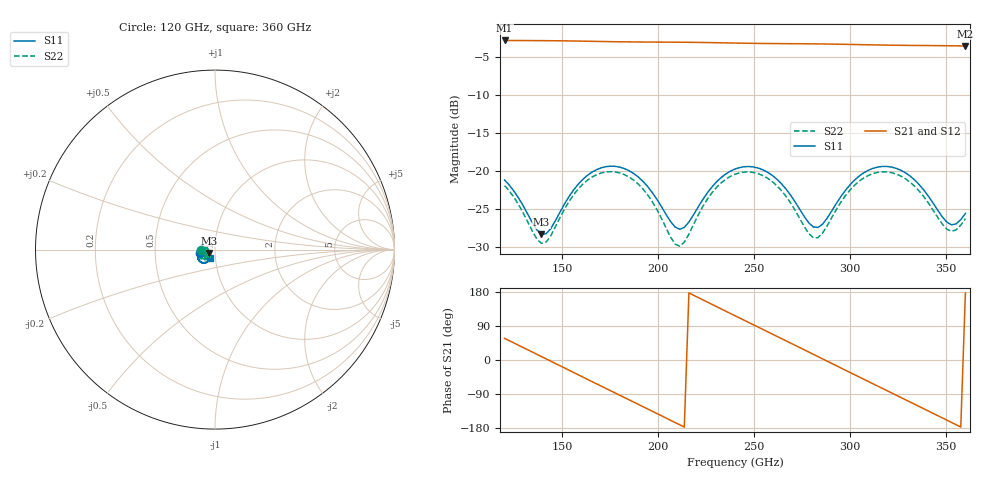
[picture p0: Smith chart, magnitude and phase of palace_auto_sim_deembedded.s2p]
! Created with skrf 1.11.0 (http://scikit-rf.org).
# GHz S DB R 50.0
!freq dBS11 angS11 dBS21 angS21 dBS12 angS12 dBS22 angS22
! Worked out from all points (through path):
!   101 points, 120 GHz to 360 GHz, reference 50 ohm
!   highest |S21| = -2.76 dB at 120 GHz (marker M1); lowest = -3.5 dB at 360 GHz (marker M2)
!   group delay of S21, straight-line fit = 6.94 ps
!   lowest |S11| = -28.3 dB at 139.2 GHz (marker M3), VSWR 1.08, Z = 46.7 - j1.76 ohm
!   |S11| at or under -10 dB: start of sweep to end of sweep
!   |S22| runs from -29.9 to -20.0 dB; largest |S21 - S12| = 8.2e-14
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120  -21.16 -167.4  -2.76 57.0  -2.76 57.0  -21.89 -177.1
139.2  -28.30 -150.7  -2.78 9.0  -2.78 9.0  -29.51 -159.6
148.8  -25.41 -120.0  -2.80 -15.0  -2.80 -15.0  -26.14 -128.8
160.8  -21.05 -124.8  -2.85 -45.2  -2.85 -45.2  -21.69 -136.4
170.4  -19.54 -138.8  -2.89 -69.2  -2.89 -69.2  -20.22 -152.1
180  -19.46 -154.2  -2.93 -93.1  -2.93 -93.1  -20.22 -169.2
189.6  -20.75 -168.0  -2.96 -117.0  -2.96 -117.0  -21.69 175.2
201.6  -24.63 -173.8  -2.98 -146.9  -2.98 -146.9  -26.16 167.5
211.2  -27.65 -148.8  -2.99 -171.0  -2.99 -171.0  -29.87 -161.2
225.6  -22.85 -122.3  -3.03 152.9  -3.03 152.9  -23.67 -134.3
240  -19.71 -137.6  -3.10 116.9  -3.10 116.9  -20.39 -153.6
249.6  -19.43 -152.0  -3.14 92.9  -3.14 92.9  -20.16 -169.8
259.2  -20.50 -165.3  -3.17 69.0  -3.17 69.0  -21.32 175.2
280.8  -27.34 -152.5  -3.21 15.0  -3.21 15.0  -28.77 -171.6
290.4  -25.22 -123.2  -3.24 -9.1  -3.24 -9.1  -26.10 -141.4
300  -21.76 -122.1  -3.28 -33.1  -3.28 -33.1  -22.44 -142.9
312  -19.60 -136.1  -3.34 -63.1  -3.34 -63.1  -20.29 -159.1
321.6  -19.45 -149.8  -3.38 -87.0  -3.38 -87.0  -20.19 -174.4
331.2  -20.64 -162.2  -3.41 -110.9  -3.41 -110.9  -21.44 171.9
343.2  -24.20 -166.8  -3.44 -140.8  -3.44 -140.8  -25.13 166.2
352.8  -27.06 -144.2  -3.46 -164.9  -3.46 -164.9  -27.92 -171.2
360  -25.56 -121.9  -3.49 177.1  -3.49 177.1  -26.25 -150.4
